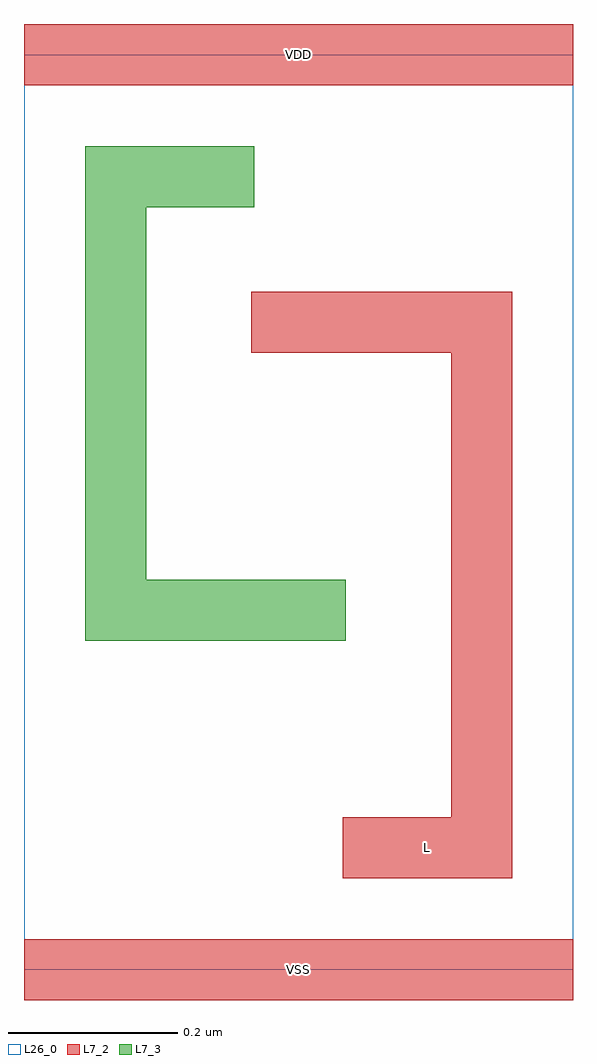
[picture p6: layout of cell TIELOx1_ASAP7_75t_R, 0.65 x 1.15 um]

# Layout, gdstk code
import gdstk
lib = gdstk.Library(unit=1e-6, precision=1e-09)
def R(c, l, rs):  # rectangles x0, y0, x1, y1
    for r in rs: c.add(gdstk.rectangle(r[:2], r[2:], *l))
L7_2 = (7, 2)
L7_3 = (7, 3)
L26_0 = (26, 0)

tielox1_asap7_75t_r = lib.new_cell('TIELOx1_ASAP7_75t_R')
R(tielox1_asap7_75t_r, L7_2, [(0,-0.036,0.648,0.036), (0.376,0.108,0.576,0.18), (0.504,0.108,0.576,0.8), (0.268,0.728,0.576,0.8), (0,1.044,0.648,1.116)])
R(tielox1_asap7_75t_r, L7_3, [(0.072,0.388,0.144,0.972), (0.072,0.388,0.38,0.46), (0.072,0.9,0.272,0.972)])
R(tielox1_asap7_75t_r, L26_0, [(0,0,0.648,1.08)])
tielox1_asap7_75t_r.add(gdstk.Label('L', (0.476,0.144), layer=7, texttype=1))
tielox1_asap7_75t_r.add(gdstk.Label('VDD', (0.324,1.08), layer=7, texttype=1))
tielox1_asap7_75t_r.add(gdstk.Label('VSS', (0.324,0), layer=7, texttype=1))

lib.write_gds('TIELOx1_ASAP7_75t_R.gds')
